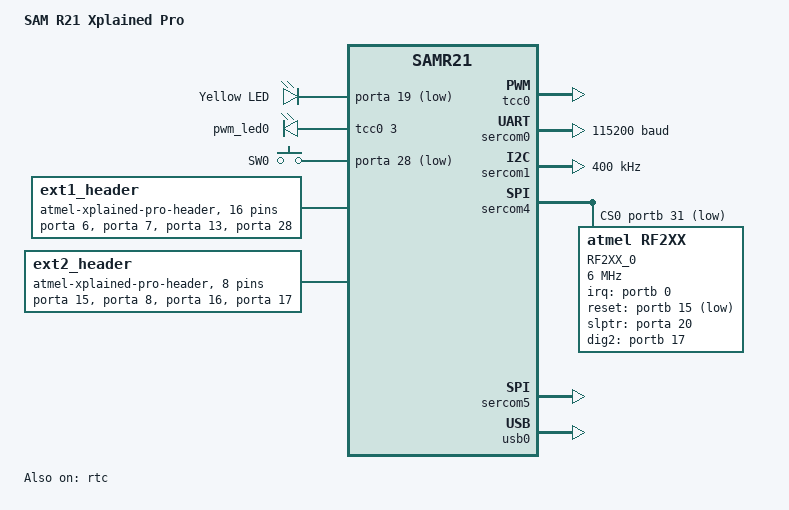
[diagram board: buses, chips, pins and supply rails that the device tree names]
/*
 * Copyright (c) 2019 Benjamin Valentin
 *
 * SPDX-License-Identifier: Apache-2.0
 */

/dts-v1/;
#include <atmel/samr21.dtsi>

/ {
	model = "SAM R21 Xplained Pro";
	compatible = "atsamr21,xpro", "atmel,samr21g18a", "atmel,samr21";

	chosen {
		zephyr,console = &sercom0;
		zephyr,shell-uart = &sercom0;
		zephyr,sram = &sram0;
		zephyr,flash = &flash0;
	};

	/* These aliases are provided for compatibility with samples */
	aliases {
		led0 = &led0;
		pwm-led0 = &pwm_led0;
		sw0 = &user_button;
		i2c-0 = &sercom1;
	};

	leds {
		compatible = "gpio-leds";
		led0: led_0 {
			gpios = <&porta 19 GPIO_ACTIVE_LOW>;
			label = "Yellow LED";
		};
	};

	pwmleds {
		compatible = "pwm-leds";
		pwm_led0: pwm_led_0 {
			pwms = <&tcc0 3>;
		};
	};

	buttons {
		compatible = "gpio-keys";
		user_button: button_0 {
			gpios = <&porta 28 (GPIO_PULL_UP | GPIO_ACTIVE_LOW)>;
			label = "SW0";
		};
	};

	ext1_header: xplained-pro-connector1 {
		compatible = "atmel-xplained-pro-header";
		#gpio-cells = <2>;
		gpio-map-mask = <0xffffffff 0xffffffc0>;
		gpio-map-pass-thru = <0 0x3f>;		/*           Shared */
		gpio-map =	<0  0 &porta  6 0>,	/* ADC6             */
				<1  0 &porta  7 0>,	/* ADC7             */
				<2  0 &porta 13 0>,	/* GPIO             */
				<3  0 &porta 28 0>,	/* GPIO             */
				<4  0 &porta 18 0>,	/* PWM_T0_W2        */
				<5  0 &porta 19 0>,	/* PWM_T0_W3        */
				<6  0 &porta 22 0>,	/* GPIO             */
				<7  0 &porta 23 0>,	/* GPIO             */
				<8  0 &porta 16 0>,	/* TWD1        EXT2 */
				<9  0 &porta 17 0>,	/* TWCK1       EXT2 */
				<10 0 &porta  5 0>,	/* RXD0             */
				<11 0 &porta  4 0>,	/* TXD0             */
				<12 0 &portb  3 0>,	/* SPI5(SS)         */
				<13 0 &portb 22 0>,	/* SPI5(MOSI)  EXTx */
				<14 0 &portb  2 0>,	/* SPI5(MISO)  EXTx */
				<15 0 &portb 23 0>;	/* SPI5(SCK)   EXTx */
	};

	ext2_header: xplained-pro-connector2 {
		compatible = "atmel-xplained-pro-header";
		#gpio-cells = <2>;
		gpio-map-mask = <0xffffffff 0xffffffc0>;
		gpio-map-pass-thru = <0 0x3f>;		/*           Shared */
		gpio-map =    /*<0  0 -      - 0>,	   -                */
			      /*<1  0 -      - 0>,	   -                */
				<2  0 &porta 15 0>,	/* GPIO             */
			      /*<3  0 -      - 0>,	   -                */
			      /*<4  0 -      - 0>,	   -                */
			      /*<5  0 -      - 0>,	   -                */
			      /*<6  0 -      - 0>,	   -                */
				<7  0 &porta  8 0>,	/* GPIO             */
				<8  0 &porta 16 0>,	/* TWD1        EXT1 */
				<9  0 &porta 17 0>,	/* TWCK1       EXT1 */
			      /*<11 0 -      - 0>,	   -                */
			      /*<12 0 -      - 0>,	   -                */
				<12 0 &porta 14 0>,	/* GPIO             */
				<13 0 &portb 22 0>,	/* SPI5(MOSI)  EXTx */
				<14 0 &portb  2 0>,	/* SPI5(MISO)  EXTx */
				<15 0 &portb 23 0>;	/* SPI5(SCK)   EXTx */
	};
};

&cpu0 {
	clock-frequency = <48000000>;
};

&tcc0 {
	status = "okay";
	compatible = "atmel,sam0-tcc-pwm";
	prescaler = <4>;
	#pwm-cells = <1>;
};

&sercom0 {
	status = "okay";
	compatible = "atmel,sam0-uart";
	current-speed = <115200>;
	rxpo = <1>;
	txpo = <0>;
};

&sercom1 {
	status = "okay";
	compatible = "atmel,sam0-i2c";
	clock-frequency = <I2C_BITRATE_FAST>;
	label = "I2C_0";
	#address-cells = <1>;
	#size-cells = <0>;
};

&sercom4 {
	status = "okay";
	compatible = "atmel,sam0-spi";
	/*
	 *	CS-PB31; MOSI-PB30; MISO-PC19; SCLK-PC18
	 *	PAD[1]; PAD[2]; PAD[0]; PAD[3]
	 */
	dipo = <0>;
	dopo = <1>;
	label = "SPI_RF2XX";
	#address-cells = <1>;
	#size-cells = <0>;

	cs-gpios = <&portb 31 GPIO_ACTIVE_LOW>;

	rf2xx@0 {
		compatible = "atmel,rf2xx";
		reg = <0x0>;
		label = "RF2XX_0";
		spi-max-frequency = <6000000>;
		irq-gpios = <&portb 0 (GPIO_ACTIVE_HIGH | GPIO_PULL_DOWN)>;
		reset-gpios = <&portb 15 GPIO_ACTIVE_LOW>;
		slptr-gpios = <&porta 20 GPIO_ACTIVE_HIGH>;
		dig2-gpios = <&portb 17 (GPIO_ACTIVE_HIGH | GPIO_PULL_DOWN)>;
		status = "okay";
	};
};

&sercom5 {
	status = "okay";
	compatible = "atmel,sam0-spi";
	dipo = <0>;
	dopo = <2>;
	label = "SPI_0";
	#address-cells = <1>;
	#size-cells = <0>;
};

&usb0 {
	status = "okay";
};

&rtc {
	status = "okay";
};

ext1_spi: &sercom5 {
};

ext1_i2c: &sercom1 {
};

ext1_serial: &sercom0 {
};

ext2_spi: &sercom5 {
};

ext2_i2c: &sercom1 {
};
